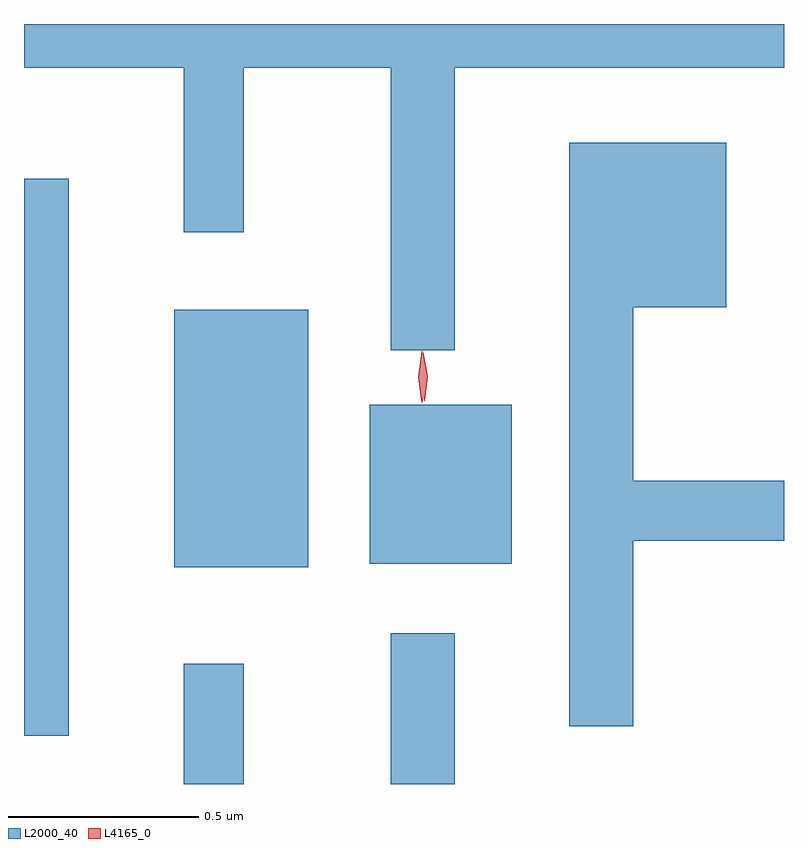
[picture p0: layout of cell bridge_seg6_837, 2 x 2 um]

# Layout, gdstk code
import gdstk
lib = gdstk.Library(unit=1e-6, precision=1e-09)
def R(c, l, rs):  # rectangles x0, y0, x1, y1
    for r in rs: c.add(gdstk.rectangle(r[:2], r[2:], *l))
def P(c, l, *ps):  # polygons
    for p in ps: c.add(gdstk.Polygon(p, *l))
L2000_40 = (2000, 40)
L4165_0 = (4165, 0)

bridge_seg6_837 = lib.new_cell('bridge_seg6_837')
R(bridge_seg6_837, L2000_40, [(516.356,1548.151,516.514,1548.468), (516.901,1548.151,517.069,1548.548), (515.936,1548.278,516.054,1549.744), (516.331,1548.721,516.684,1549.399), (516.846,1548.731,517.219,1549.149)])
P(bridge_seg6_837, L2000_40, [(517.069,1550.036),(517.936,1550.036),(517.936,1550.151),(515.936,1550.151),(515.936,1550.036),(516.356,1550.036),(516.356,1549.603),(516.514,1549.603),(516.514,1550.036),(516.901,1550.036),(516.901,1549.293),(517.069,1549.293)],
  [(517.539,1548.791),(517.936,1548.791),(517.936,1548.949),(517.539,1548.949),(517.539,1549.406),(517.784,1549.406),(517.784,1549.839),(517.371,1549.839),(517.371,1548.303),(517.539,1548.303)])
P(bridge_seg6_837, L4165_0, [(516.983,1549.154),(516.983,1549.154),(516.973,1549.222),(516.983,1549.29),(516.983,1549.29),(516.984,1549.29),(516.993,1549.222),(516.984,1549.154)],
  [(516.989,1549.158),(516.989,1549.159),(516.978,1549.222),(516.986,1549.287),(516.986,1549.287),(516.987,1549.287),(516.998,1549.223),(516.99,1549.159)])

lib.write_gds('bridge_seg6_837.gds')
